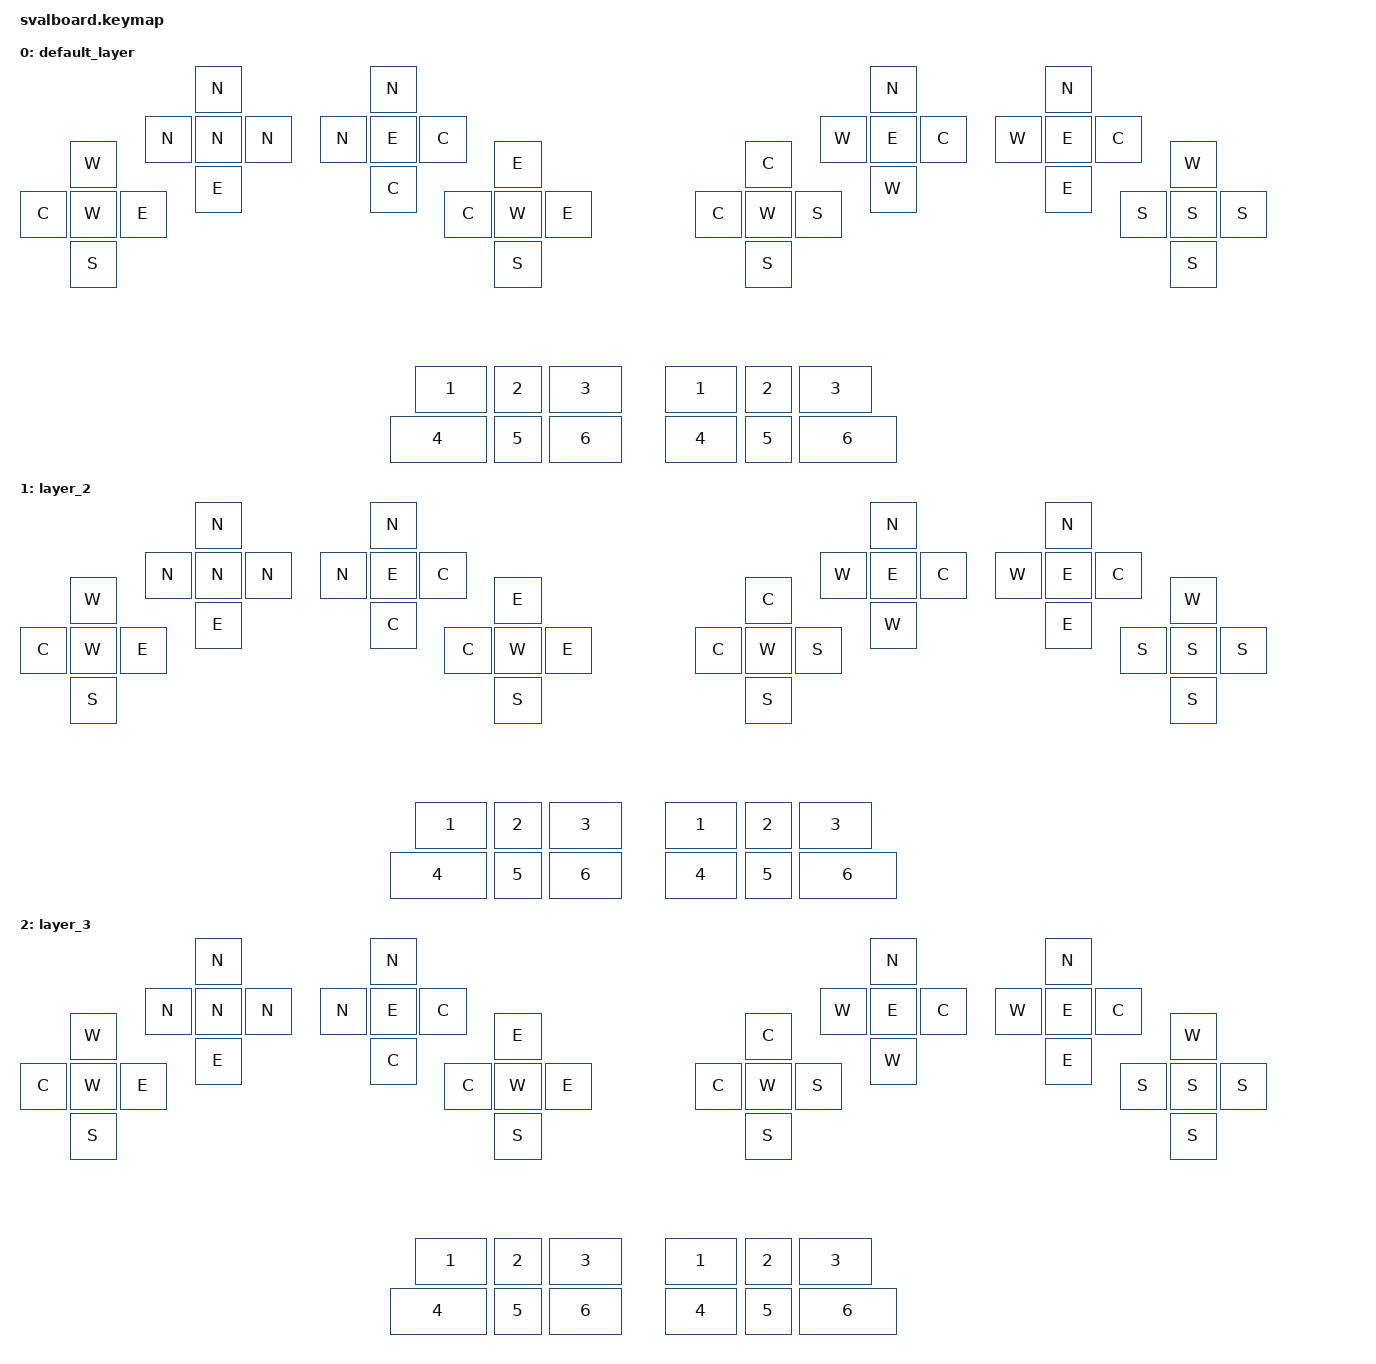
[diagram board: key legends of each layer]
/*
 * Copyright (c) 2024 The ZMK Contributors
 *
 * SPDX-License-Identifier: MIT
 */
#include <input/processors.dtsi>
#include <behaviors.dtsi>
#include <dt-bindings/zmk/bt.h>
#include <dt-bindings/zmk/keys.h>
#include <dt-bindings/zmk/pointing.h>
#include <dt-bindings/zmk/input_transform.h>
#include <zephyr/dt-bindings/input/input-event-codes.h>

&trackball_listener_left {
    status = "okay";
    input-processors = <&zip_xy_transform INPUT_TRANSFORM_Y_INVERT>,
                       <&zip_xy_scaler 1 60>,
                       //<&zip_xy_scaler 1 2>,  // replace above if using smooth scrolling
                       <&zip_xy_to_scroll_mapper>;
};

&trackball_listener_right {
    status = "okay";
    input-processors = <&zip_temp_layer 3 2000>;
};

/ {
    keymap {
        compatible = "zmk,keymap";
        default_layer {
            bindings = <
      &kp N             &kp N             &kp N             &kp N             &kp N             &kp N             &kp N             &kp N
&kp E &kp C &kp W &kp E &kp C &kp W &kp E &kp C &kp W &kp E &kp C &kp W &kp E &kp C &kp W &kp E &kp C &kp W &kp E &kp C &kp W &kp E &kp C &kp W
      &kp S             &kp S             &kp S             &kp S             &kp S             &kp S             &kp S             &kp S
                                          &kp N1 &kp N2 &kp N3              &kp N1 &kp N2 &kp N3
                                          &kp N4 &kp N5 &kp N6              &kp N4 &kp N5 &kp N6
            >;
        };
        layer_2 {
            bindings = <
      &kp N             &kp N             &kp N             &kp N             &kp N             &kp N             &kp N             &kp N
&kp E &kp C &kp W &kp E &kp C &kp W &kp E &kp C &kp W &kp E &kp C &kp W &kp E &kp C &kp W &kp E &kp C &kp W &kp E &kp C &kp W &kp E &kp C &kp W
      &kp S             &kp S             &kp S             &kp S             &kp S             &kp S             &kp S             &kp S
                                          &kp N1 &kp N2 &kp N3              &kp N1 &kp N2 &kp N3
                                          &kp N4 &kp N5 &kp N6              &kp N4 &kp N5 &kp N6
            >;
        };
        layer_3 {
            bindings = <
      &kp N             &kp N             &kp N             &kp N             &kp N             &kp N             &kp N             &kp N
&kp E &kp C &kp W &kp E &kp C &kp W &kp E &kp C &kp W &kp E &kp C &kp W &kp E &kp C &kp W &kp E &kp C &kp W &kp E &kp C &kp W &kp E &kp C &kp W
      &kp S             &kp S             &kp S             &kp S             &kp S             &kp S             &kp S             &kp S
                                          &kp N1 &kp N2 &kp N3              &kp N1 &kp N2 &kp N3
                                          &kp N4 &kp N5 &kp N6              &kp N4 &kp N5 &kp N6
            >;
        };
    };
};
